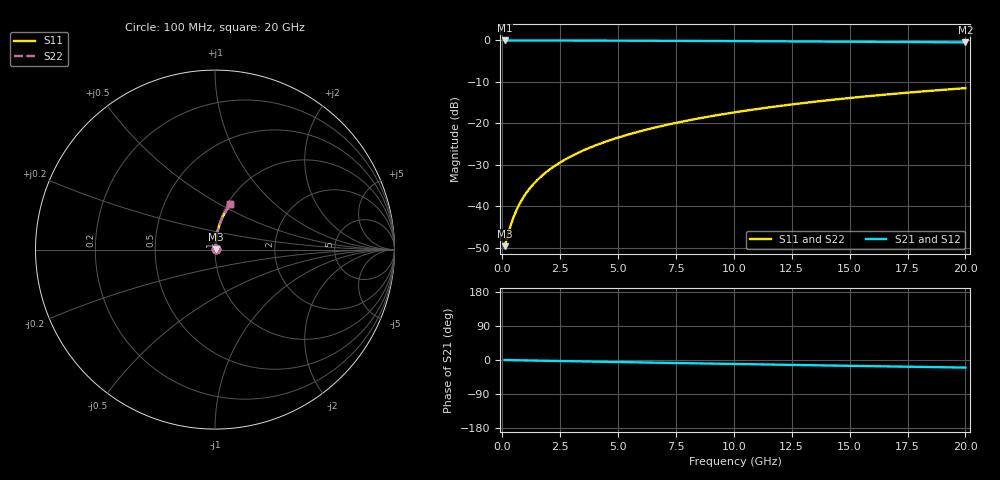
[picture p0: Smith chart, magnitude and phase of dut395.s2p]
! Touchstone file exported from HFSS 2024.1.0
!  File:  C:/UserFiles/LocalFiles/RDL_TSV_Batchsim/temp_RDL_top_395_1779609993.aedt
!  Generated:  04:08:56 PM May 24, 2026
!  Design:  RDL_top
!  Project:  temp_RDL_top_395_1779609993
!  Setup:  Setup1
!  Solution:  Sweep
! Variables:
!  dtsv = 10.80580581um
!  hbump = 3um
!  htsv = 76.85um
!  ldown = 100um
!  lrdl = 208.18um
!  p = 40
!  p1 = 45.88um
!  rhole = 1um
!  t = 450um
!  tdown = 3.915915916um
!  trdl = 2.32um
!  wdown = 15.38538539um
!  wrdl = 11.38um
# GHz S MA R 50.000000
! Terminal data exported
! Port[1] = Box2_T1
! Port[2] = Box2_T2
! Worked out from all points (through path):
!   200 points, 100 MHz to 20 GHz, reference 50 ohm
!   highest |S21| = -0.03 dB at 100 MHz (marker M1); lowest = -0.5 dB at 20 GHz (marker M2)
!   group delay of S21, straight-line fit = 2.78 ps
!   lowest |S11| = -49.6 dB at 100 MHz (marker M3), VSWR 1.01, Z = 50.3 + j0.14 ohm
!   |S11| at or under -10 dB: start of sweep to end of sweep
!   |S22| runs from -49.6 to -11.5 dB; largest |S21 - S12| = 3.6e-15
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0.1  0.003329 24.7  0.997 -0.1  0.997 -0.1  0.003329 24.7
! Gamma 0 0 0 0
! Port Impedance 50 0 50 0
0.4  0.006358 60.6  0.9969 -0.4  0.9969 -0.4  0.006358 60.6
0.5  0.007599 65.3  0.9968 -0.6  0.9968 -0.6  0.007599 65.3
0.6  0.008871 68.6  0.9968 -0.7  0.9968 -0.7  0.008871 68.6
0.7  0.01016 71.1  0.9967 -0.8  0.9967 -0.8  0.01016 71.1
0.9  0.01276 74.5  0.9966 -1.0  0.9966 -1.0  0.01276 74.5
1.2  0.01669 77.5  0.9963 -1.3  0.9963 -1.3  0.01669 77.5
1.4  0.01933 78.9  0.9962 -1.5  0.9962 -1.5  0.01933 78.9
1.7  0.02329 80.2  0.996 -1.9  0.996 -1.9  0.02329 80.2
2.2  0.02992 81.7  0.9955 -2.4  0.9955 -2.4  0.02992 81.7
2.8  0.03791 82.6  0.9949 -3.0  0.9949 -3.0  0.03791 82.6
3.5  0.04729 83.1  0.994 -3.8  0.994 -3.8  0.04729 83.1
4.2  0.05671 83.2  0.993 -4.5  0.993 -4.5  0.05671 83.2
5  0.06752 83.1  0.9916 -5.4  0.9916 -5.4  0.06752 83.1
5.9  0.07972 82.8  0.9899 -6.3  0.9899 -6.3  0.07972 82.8
6.8  0.09196 82.3  0.988 -7.2  0.988 -7.2  0.09196 82.3
8.3  0.1124 81.4  0.9843 -8.8  0.9843 -8.8  0.1124 81.4
10.1  0.1369 80.0  0.9794 -10.6  0.9794 -10.6  0.1369 80.0
11.7  0.1585 78.7  0.9746 -12.2  0.9746 -12.2  0.1585 78.7
13.4  0.1812 77.1  0.9691 -13.8  0.9691 -13.8  0.1812 77.1
16.7  0.2243 74.1  0.9574 -17.0  0.9574 -17.0  0.2243 74.1
20  0.2658 71.1  0.9446 -20.0  0.9446 -20.0  0.2658 71.1
